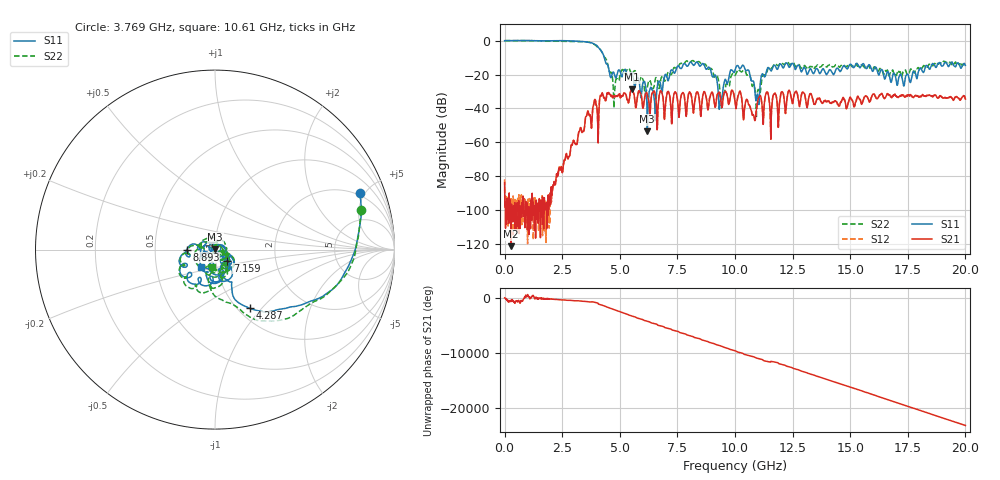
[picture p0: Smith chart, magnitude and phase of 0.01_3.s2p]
#  HZ  S  RI  R  50.00
! Rohde & Schwarz Vector Network Analyzer
! Rohde-Schwarz,ZNB20-2Port,1311601062102128,3.60
! Created: UTC 4/29/2024, 2:51:17 PM
! freq[Hz]  re:S11  im:S11  re:S21  im:S21  re:S12  im:S12  re:S22  im:S22
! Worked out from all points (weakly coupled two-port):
!   2007 points, 100 kHz to 20 GHz, reference 50 ohm
!   highest |S21| = -28.75 dB at 5.514 GHz (marker M1); lowest = -121.2 dB at 279.3 MHz (marker M2)
!   lowest |S11| = -53.6 dB at 6.191 GHz (marker M3), VSWR 1.00, Z = 50.1 + j0.194 ohm
!   |S11| at or under -10 dB: 4.328 GHz to end of sweep
!   |S22| runs from -45.8 to 0.1 dB; largest |S21 - S12| = 0.0021
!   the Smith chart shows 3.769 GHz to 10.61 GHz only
!   S11 on the Smith chart (normalised r, x): 3.769 GHz: 1.80, +4.58; 4.287 GHz: 1.13, -0.86; 7.159 GHz: 1.14, -0.14; 8.893 GHz: 0.73, -0.00; 10.61 GHz: 0.84, -0.17
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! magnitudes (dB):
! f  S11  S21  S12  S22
! 100 kHz  0.0  -83.7  -81.8  0.1
! 279.3 MHz  0.0  -121.2  -93.9  0.0
! 2.213 GHz  -0.1  -84.0  -82.6  -0.3
! 3.34 GHz  -0.6  -53.6  -53.3  -0.6
! 3.769 GHz  -1.2  -51.6  -51.8  -1.5
! 4.287 GHz  -8.4  -32.6  -32.7  -8.7
! 4.776 GHz  -20.4  -32.8  -32.8  -29.8
! 5.514 GHz  -18.9  -28.7  -28.7  -20.1
! 6.191 GHz  -53.6  -32.0  -32.0  -28.3
! 6.67 GHz  -24.4  -37.4  -37.4  -25.9
! 7.159 GHz  -20.8  -32.1  -32.1  -19.2
! 7.916 GHz  -15.1  -39.3  -39.2  -12.0
! 8.893 GHz  -16.0  -34.3  -34.3  -16.6
! 9.372 GHz  -35.1  -34.3  -34.3  -33.9
! 10 GHz  -17.5  -35.6  -35.5  -20.5
! 10.61 GHz  -18.0  -37.8  -37.9  -20.0
! 10.82 GHz  -24.6  -44.4  -44.4  -26.1
! 10.97 GHz  -31.5  -37.3  -37.3  -31.5
! 11.46 GHz  -15.9  -32.6  -32.7  -16.2
! 13.34 GHz  -18.0  -32.7  -32.7  -15.3
! 16.67 GHz  -19.1  -31.8  -31.8  -20.5
! 20 GHz  -14.7  -34.5  -34.5  -14.3
